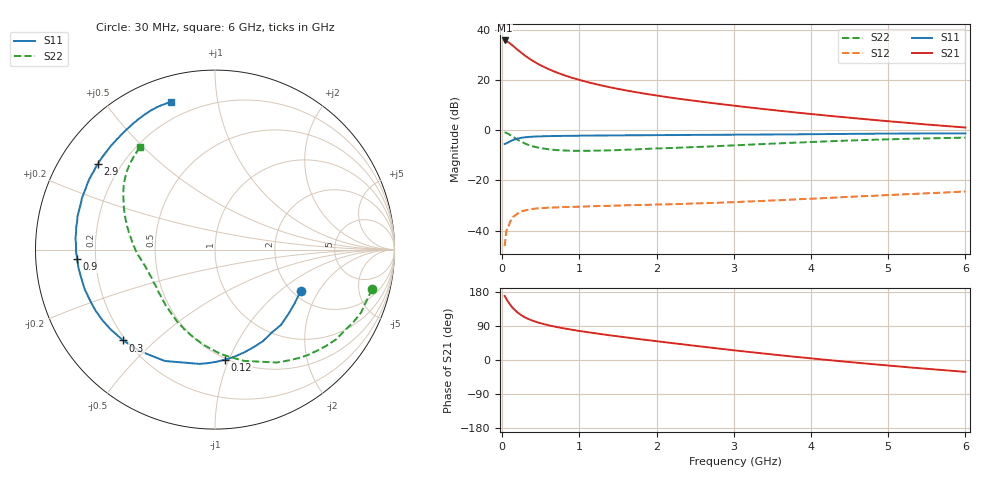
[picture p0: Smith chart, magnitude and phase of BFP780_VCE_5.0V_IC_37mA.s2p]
! Infineon Technologies  Discrete & RF Semiconductors
! BFP780
! VCE =  5.0 V,  IC =  37 mA
! Common Emitter S-Parameters:  Jul 2015
# GHz  S  MA  R  50
!  f  S11  S21  S12  S22
! GHz  MAG  ANG  MAG  ANG  MAG  ANG  MAG  ANG
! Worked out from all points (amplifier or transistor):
!   75 points, 30 MHz to 6 GHz, reference 50 ohm
!   highest |S21| = 35.7 dB at 30 MHz (marker M1)
!   |S21| within 3 dB of that: start of sweep to 171.1 MHz
!   unconditionally stable (mu >= 1): 2.058 GHz to end of sweep
!   at 150 MHz: K = 0.18, MSG = 33.8 dB, |S12| = -34.3 dB
!   at 2.3 GHz: K = 1.08, MAG = 19.2 dB, |S12| = -29.4 dB
!   at 6 GHz: K = 1.22, MAG = 9.9 dB, |S12| = -24.4 dB
!   S11 on the Smith chart (normalised r, x): 30 MHz: 2.21, -1.41; 120 MHz: 0.49, -0.97; 300 MHz: 0.19, -0.40; 900 MHz: 0.13, -0.03; 2.9 GHz: 0.12, +0.32; 6 GHz: 0.12, +0.74
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0.03  0.53 -25.7  60.79 169.2  0.0049 59.5  0.9023 -14.2
0.05  0.5443 -41.3  59.17 162.0  0.0091 64.9  0.886 -23.4
0.08  0.5759 -62.3  55.74 152.3  0.0123 61.8  0.8407 -36.4
0.1  0.5957 -74.3  52.95 146.6  0.0151 55.7  0.8023 -44.3
0.12  0.616 -84.8  50.08 141.3  0.0167 51.3  0.767 -51.7
0.15  0.6427 -97.8  45.86 134.4  0.0192 44.4  0.7158 -61.5
0.2  0.6805 -114.2  39.46 125.0  0.0219 37.5  0.6403 -75.5
0.25  0.7029 -126.2  34.21 117.7  0.0241 33.9  0.583 -86.9
0.3  0.7196 -135.3  29.89 111.9  0.0253 29.9  0.5356 -96.6
0.35  0.7319 -142.5  26.42 107.1  0.0264 27.1  0.5001 -104.6
0.4  0.7406 -148.0  23.6 103.2  0.0271 25.3  0.4742 -111.4
0.5  0.7507 -156.7  19.36 96.8  0.0279 22.2  0.4368 -122.5
0.7  0.7619 -168.2  14.11 87.2  0.0289 18.4  0.4 -138.1
0.9  0.7695 -176.0  11.04 79.9  0.0298 17.1  0.387 -148.5
1.1  0.7748 178.0  9.037 73.5  0.0303 16.4  0.3865 -156.2
1.5  0.7836 168.6  6.597 62.4  0.0315 16.8  0.3999 -166.8
2.1  0.7955 157.2  4.62 47.1  0.0332 17.7  0.4356 -177.7
2.9  0.8085 143.8  3.197 28.0  0.0365 19.9  0.489 168.8
3.1  0.812 140.8  2.942 23.4  0.0375 20.4  0.5049 165.4
4.1  0.8309 126.4  2.019 2.3  0.0437 21.4  0.5876 150.4
5.1  0.8534 114.9  1.458 -16.3  0.0518 19.1  0.661 137.4
6  0.8587 106.6  1.125 -31.3  0.0601 14.9  0.7082 125.9
